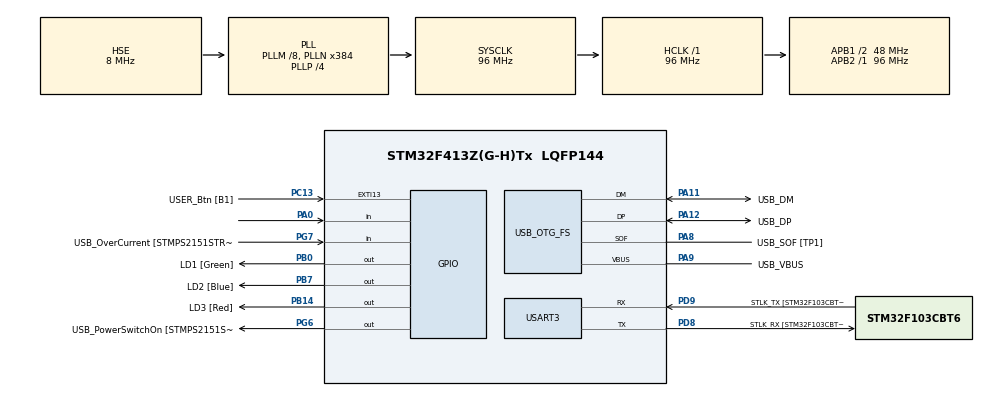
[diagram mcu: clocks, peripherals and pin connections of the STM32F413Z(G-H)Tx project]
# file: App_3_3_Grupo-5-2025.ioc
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Mcu.Family=STM32F4
Mcu.Name=STM32F413Z(G-H)Tx
Mcu.Package=LQFP144
NVIC.PriorityGroup=NVIC_PRIORITYGROUP_4
PA0.Signal=GPIO_Input
PA10.GPIO_Label=USB_ID
PA10.Signal=USB_OTG_FS_ID
PA11.GPIO_Label=USB_DM
PA11.Mode=Device_Only
PA11.Signal=USB_OTG_FS_DM
PA12.GPIO_Label=USB_DP
PA12.Mode=Device_Only
PA12.Signal=USB_OTG_FS_DP
PA13.GPIO_Label=TMS
PA13.Mode=Serial_Wire
PA13.Signal=SYS_JTMS-SWDIO
PA14.GPIO_Label=TCK
PA14.Mode=Serial_Wire
PA14.Signal=SYS_JTCK-SWCLK
PA8.GPIO_Label=USB_SOF [TP1]
PA8.Mode=Activate_SOF_FS
PA8.Signal=USB_OTG_FS_SOF
PA9.GPIO_Label=USB_VBUS
PA9.Mode=Activate_VBUS
PA9.Signal=USB_OTG_FS_VBUS
PB0.GPIO_Label=LD1 [Green]
PB0.Signal=GPIO_Output
PB14.GPIO_Label=LD3 [Red]
PB14.Signal=GPIO_Output
PB3.GPIO_Label=SWO
PB3.Signal=SYS_JTDO-SWO
PB7.GPIO_Label=LD2 [Blue]
PB7.Signal=GPIO_Output
PC13.GPIO_Label=USER_Btn [B1]
PC13.Signal=GPXTI13
PC14-OSC32_IN.Mode=LSE-External-Oscillator
PC14-OSC32_IN.Signal=RCC_OSC32_IN
PC15-OSC32_OUT.Mode=LSE-External-Oscillator
PC15-OSC32_OUT.Signal=RCC_OSC32_OUT
PD8.GPIO_Label=STLK_RX [STM32F103CBT6_PA3]
PD8.Mode=Asynchronous
PD8.Signal=USART3_TX
PD9.GPIO_Label=STLK_TX [STM32F103CBT6_PA2]
PD9.Mode=Asynchronous
PD9.Signal=USART3_RX
PG6.GPIO_Label=USB_PowerSwitchOn [STMPS2151STR_EN]
PG6.Signal=GPIO_Output
PG7.GPIO_Label=USB_OverCurrent [STMPS2151STR_FAULT]
PG7.Signal=GPIO_Input
PH0\ -\ OSC_IN.GPIO_Label=MCO
PH0\ -\ OSC_IN.Mode=HSE-External-Clock-Source
PH0\ -\ OSC_IN.Signal=RCC_OSC_IN
PH1\ -\ OSC_OUT.Mode=HSE-External-Clock-Source
PH1\ -\ OSC_OUT.Signal=RCC_OSC_OUT
ProjectManager.HeapSize=0x200
ProjectManager.StackSize=0x400
ProjectManager.TargetToolchain=STM32CubeIDE
RCC.48MHZClocksFreq_Value=24000000
RCC.AHBFreq_Value=96000000
RCC.APB1CLKDivider=RCC_HCLK_DIV2
RCC.APB1Freq_Value=48000000
RCC.APB1TimFreq_Value=96000000
RCC.APB2Freq_Value=96000000
RCC.APB2TimFreq_Value=96000000
RCC.CortexFreq_Value=96000000
RCC.HCLKFreq_Value=96000000
RCC.HSE_VALUE=8000000
RCC.HSI_VALUE=16000000
RCC.PLLM=8
RCC.PLLMUL=RCC_PLL_MUL9
RCC.PLLN=384
RCC.PLLP=RCC_PLLP_DIV4
RCC.PLLQ=8
RCC.PRESCALERUSB=RCC_USBCLKSOURCE_PLL_DIV1_5
RCC.SYSCLKFreq_VALUE=96000000
RCC.SYSCLKSource=RCC_SYSCLKSOURCE_PLLCLK
RCC.SYSCLKSourceVirtual=RCC_SYSCLKSOURCE_PLLCLK
RCC.USBFreq_Value=48000000
RCC.VCOOutputFreq_Value=384000000
USART3.VirtualMode=VM_ASYNC
USB_OTG_FS.VirtualMode=Device_Only
board=NUCLEO-F413ZH

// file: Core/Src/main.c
/* USER CODE BEGIN Header */
/**
  ******************************************************************************
  * @file           : main.c
  * @brief          : Main program body
  ******************************************************************************
  * @attention
  *
  * Copyright (c) 2025 STMicroelectronics.
  * All rights reserved.
  *
  * This software is licensed under terms that can be found in the LICENSE file
  * in the root directory of this software component.
  * If no LICENSE file comes with this software, it is provided AS-IS.
  *
  ******************************************************************************
  */
/* USER CODE END Header */
#include "main.h"
#include "API_GPIO.h" // Incluimos nuestro driver GPIO
//#include <stdio.h> // Para usar printf (si quieres depurar por UART)
#include "API_Delay.h"

UART_HandleTypeDef huart3;

PCD_HandleTypeDef hpcd_USB_OTG_FS;

/* USER CODE BEGIN PV */
GPIO_TypeDef* led_ports[] = {LD1_GPIO_Port, LD2_GPIO_Port, LD3_GPIO_Port};
uint16_t led_pins[] = {LD1_Pin, LD2_Pin, LD3_Pin};
const uint8_t led_count = 3;

uint8_t secuencia = 1;
GPIO_PinState button_state, last_button_state = GPIO_PIN_RESET;

// Delays no bloqueantes
delay_t led_delay;       // Secuencia 1
delay_t seq2_delay;      // Secuencia 2
delay_t seq3_delay[3];   // Secuencia 3
delay_t seq4_delay;      // Secuencia 4

// Variables de estado
uint8_t led_index = 0;   // Secuencia 1
bool seq2_state = false; // Secuencia 2
bool seq4_state = false; // Secuencia 4
bool seq3_state[3] = {false, false, false}; // Secuencia 3
/* USER CODE END PV */

void SystemClock_Config(void);
//static void MX_GPIO_Init(void);
static void MX_USART3_UART_Init(void);
static void MX_USB_OTG_FS_PCD_Init(void);

int main(void)
{

  /* MCU Configuration--------------------------------------------------------*/

  /* Reset of all peripherals, Initializes the Flash interface and the Systick. */
  HAL_Init();

  /* Configure the system clock */
  SystemClock_Config();

  /* Initialize all configured peripherals */
  MX_GPIO_Init();
  MX_USART3_UART_Init();
  MX_USB_OTG_FS_PCD_Init();
  /* USER CODE BEGIN 2 */
      delayInit(&led_delay, 150);
      delayInit(&seq2_delay, 300);
      delayInit(&seq3_delay[0], 100);
      delayInit(&seq3_delay[1], 300);
      delayInit(&seq3_delay[2], 600);
      delayInit(&seq4_delay, 150);
  /* USER CODE END 2 */

  /* Infinite loop */
  while (1)
  {

      // === Leer pulsador ===
      button_state = HAL_GPIO_ReadPin(GPIOA, GPIO_PIN_0);
      if(button_state == GPIO_PIN_SET && last_button_state == GPIO_PIN_RESET){
          secuencia++;
          if(secuencia > 4) secuencia = 1;
          delayWrite(&led_delay, 200); // anti-rebote
      }
      last_button_state = button_state;

      // === Ejecutar secuencia ===
      switch(secuencia)
      {
          case 1: // Secuencia 1: alternancia 150 ms
              if(delayRead(&led_delay)){
                  for(uint8_t i=0; i<led_count; i++)
                      HAL_GPIO_WritePin(led_ports[i], led_pins[i], GPIO_PIN_RESET);
                  HAL_GPIO_WritePin(led_ports[led_index], led_pins[led_index], GPIO_PIN_SET);
                  led_index++;
                  if(led_index >= led_count) led_index = 0;
                  delayWrite(&led_delay, 150);
              }
              break;

          case 2: // Secuencia 2: todos juntos 300 ms
              if(delayRead(&seq2_delay)){
                  seq2_state = !seq2_state;
                  for(uint8_t i=0; i<led_count; i++)
                      HAL_GPIO_WritePin(led_ports[i], led_pins[i], seq2_state ? GPIO_PIN_SET : GPIO_PIN_RESET);
                  delayWrite(&seq2_delay, 300);
              }
              break;

          case 3: // Secuencia 3: independiente 100/300/600 ms
              for(uint8_t i=0; i<led_count; i++){
                  if(delayRead(&seq3_delay[i])){
                      seq3_state[i] = !seq3_state[i];
                      HAL_GPIO_WritePin(led_ports[i], led_pins[i], seq3_state[i] ? GPIO_PIN_SET : GPIO_PIN_RESET);
                      delayWrite(&seq3_delay[i], (i==0)?100:(i==1)?300:600);
                  }
              }
              break;

          case 4: // Secuencia 4: LD1+LD3 juntos, LD2 inverso 150 ms
              if(delayRead(&seq4_delay)){
                  seq4_state = !seq4_state;
                  HAL_GPIO_WritePin(LD1_GPIO_Port, LD1_Pin, seq4_state ? GPIO_PIN_SET : GPIO_PIN_RESET);
                  HAL_GPIO_WritePin(LD3_GPIO_Port, LD3_Pin, seq4_state ? GPIO_PIN_SET : GPIO_PIN_RESET);
                  HAL_GPIO_WritePin(LD2_GPIO_Port, LD2_Pin, seq4_state ? GPIO_PIN_RESET : GPIO_PIN_SET);
                  delayWrite(&seq4_delay, 150);
              }
              break;
      }
  }
}

void SystemClock_Config(void)
{
  RCC_OscInitTypeDef RCC_OscInitStruct = {0};
  RCC_ClkInitTypeDef RCC_ClkInitStruct = {0};

  /** Configure the main internal regulator output voltage
  */
  __HAL_RCC_PWR_CLK_ENABLE();
  __HAL_PWR_VOLTAGESCALING_CONFIG(PWR_REGULATOR_VOLTAGE_SCALE1);

  /** Initializes the RCC Oscillators according to the specified parameters
  * in the RCC_OscInitTypeDef structure.
  */
  RCC_OscInitStruct.OscillatorType = RCC_OSCILLATORTYPE_HSE;
  RCC_OscInitStruct.HSEState = RCC_HSE_BYPASS;
  RCC_OscInitStruct.PLL.PLLState = RCC_PLL_ON;
  RCC_OscInitStruct.PLL.PLLSource = RCC_PLLSOURCE_HSE;
  RCC_OscInitStruct.PLL.PLLM = 8;
  RCC_OscInitStruct.PLL.PLLN = 384;
  RCC_OscInitStruct.PLL.PLLP = RCC_PLLP_DIV4;
  RCC_OscInitStruct.PLL.PLLQ = 8;
  RCC_OscInitStruct.PLL.PLLR = 2;
  if (HAL_RCC_OscConfig(&RCC_OscInitStruct) != HAL_OK)
  {
    Error_Handler();
  }

  /** Initializes the CPU, AHB and APB buses clocks
  */
  RCC_ClkInitStruct.ClockType = RCC_CLOCKTYPE_HCLK|RCC_CLOCKTYPE_SYSCLK
                              |RCC_CLOCKTYPE_PCLK1|RCC_CLOCKTYPE_PCLK2;
  RCC_ClkInitStruct.SYSCLKSource = RCC_SYSCLKSOURCE_PLLCLK;
  RCC_ClkInitStruct.AHBCLKDivider = RCC_SYSCLK_DIV1;
  RCC_ClkInitStruct.APB1CLKDivider = RCC_HCLK_DIV2;
  RCC_ClkInitStruct.APB2CLKDivider = RCC_HCLK_DIV1;

  if (HAL_RCC_ClockConfig(&RCC_ClkInitStruct, FLASH_LATENCY_3) != HAL_OK)
  {
    Error_Handler();
  }
}

static void MX_USART3_UART_Init(void)
{

  huart3.Instance = USART3;
  huart3.Init.BaudRate = 115200;
  huart3.Init.WordLength = UART_WORDLENGTH_8B;
  huart3.Init.StopBits = UART_STOPBITS_1;
  huart3.Init.Parity = UART_PARITY_NONE;
  huart3.Init.Mode = UART_MODE_TX_RX;
  huart3.Init.HwFlowCtl = UART_HWCONTROL_NONE;
  huart3.Init.OverSampling = UART_OVERSAMPLING_16;
  if (HAL_UART_Init(&huart3) != HAL_OK)
  {
    Error_Handler();
  }

}

static void MX_USB_OTG_FS_PCD_Init(void)
{

  hpcd_USB_OTG_FS.Instance = USB_OTG_FS;
  hpcd_USB_OTG_FS.Init.dev_endpoints = 6;
  hpcd_USB_OTG_FS.Init.speed = PCD_SPEED_FULL;
  hpcd_USB_OTG_FS.Init.dma_enable = DISABLE;
  hpcd_USB_OTG_FS.Init.phy_itface = PCD_PHY_EMBEDDED;
  hpcd_USB_OTG_FS.Init.Sof_enable = ENABLE;
  hpcd_USB_OTG_FS.Init.low_power_enable = DISABLE;
  hpcd_USB_OTG_FS.Init.lpm_enable = DISABLE;
  hpcd_USB_OTG_FS.Init.battery_charging_enable = ENABLE;
  hpcd_USB_OTG_FS.Init.vbus_sensing_enable = ENABLE;
  hpcd_USB_OTG_FS.Init.use_dedicated_ep1 = DISABLE;
  if (HAL_PCD_Init(&hpcd_USB_OTG_FS) != HAL_OK)
  {
    Error_Handler();
  }

}

void Error_Handler(void)
{
  __disable_irq();
  while (1)
  {
  }
}
